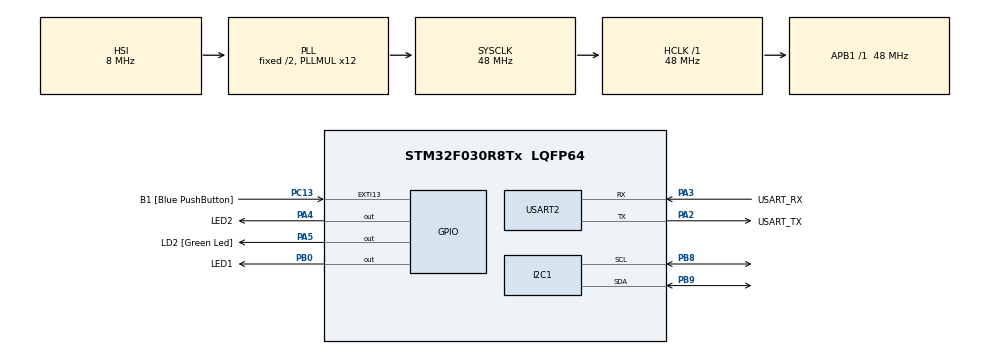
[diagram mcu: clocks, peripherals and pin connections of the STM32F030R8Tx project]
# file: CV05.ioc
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Dma.Request0=USART2_RX
Dma.USART2_RX.0.Direction=DMA_PERIPH_TO_MEMORY
Dma.USART2_RX.0.Instance=DMA1_Channel5
Dma.USART2_RX.0.MemDataAlignment=DMA_MDATAALIGN_BYTE
Dma.USART2_RX.0.MemInc=DMA_MINC_ENABLE
Dma.USART2_RX.0.Mode=DMA_CIRCULAR
Dma.USART2_RX.0.PeriphDataAlignment=DMA_PDATAALIGN_BYTE
Dma.USART2_RX.0.PeriphInc=DMA_PINC_DISABLE
Dma.USART2_RX.0.Priority=DMA_PRIORITY_LOW
Mcu.Family=STM32F0
Mcu.Name=STM32F030R8Tx
Mcu.Package=LQFP64
NVIC.DMA1_Channel4_5_IRQn=true\:0\:0\:false\:false\:true\:false\:true
PA13.GPIO_Label=TMS
PA13.Mode=Serial_Wire
PA13.Signal=SYS_SWDIO
PA14.GPIO_Label=TCK
PA14.Mode=Serial_Wire
PA14.Signal=SYS_SWCLK
PA2.GPIO_Label=USART_TX
PA2.GPIO_Mode=GPIO_MODE_AF_PP
PA2.GPIO_PuPd=GPIO_NOPULL
PA2.GPIO_Speed=GPIO_SPEED_FREQ_LOW
PA2.Mode=Asynchronous
PA2.Signal=USART2_TX
PA3.GPIO_Label=USART_RX
PA3.GPIO_Mode=GPIO_MODE_AF_PP
PA3.GPIO_PuPd=GPIO_NOPULL
PA3.GPIO_Speed=GPIO_SPEED_FREQ_LOW
PA3.Mode=Asynchronous
PA3.Signal=USART2_RX
PA4.GPIO_Label=LED2
PA4.Signal=GPIO_Output
PA5.GPIO_Label=LD2 [Green Led]
PA5.GPIO_Mode=GPIO_MODE_OUTPUT_PP
PA5.GPIO_PuPd=GPIO_NOPULL
PA5.GPIO_Speed=GPIO_SPEED_FREQ_LOW
PA5.Signal=GPIO_Output
PB0.GPIO_Label=LED1
PB0.Signal=GPIO_Output
PB8.Mode=I2C
PB8.Signal=I2C1_SCL
PB9.Mode=I2C
PB9.Signal=I2C1_SDA
PC13.GPIO_Label=B1 [Blue PushButton]
PC13.GPIO_ModeDefaultEXTI=GPIO_MODE_IT_FALLING
PC13.Signal=GPXTI13
PC14-OSC32_IN.Mode=LSE-External-Oscillator
PC14-OSC32_IN.Signal=RCC_OSC32_IN
PC15-OSC32_OUT.Mode=LSE-External-Oscillator
PC15-OSC32_OUT.Signal=RCC_OSC32_OUT
PF0-OSC_IN.Mode=HSE-External-Clock-Source
PF0-OSC_IN.Signal=RCC_OSC_IN
PF1-OSC_OUT.Signal=RCC_OSC_OUT
ProjectManager.HeapSize=0x200
ProjectManager.StackSize=0x400
ProjectManager.TargetToolchain=STM32CubeIDE
RCC.AHBFreq_Value=48000000
RCC.APB1Freq_Value=48000000
RCC.APB1TimFreq_Value=48000000
RCC.HCLKFreq_Value=48000000
RCC.PLLMUL=RCC_PLL_MUL12
RCC.SYSCLKFreq_VALUE=48000000
RCC.SYSCLKSource=RCC_SYSCLKSOURCE_PLLCLK
USART2.VirtualMode-Asynchronous=VM_ASYNC
board=NUCLEO-F030R8

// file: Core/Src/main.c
/* USER CODE BEGIN Header */
/**
  ******************************************************************************
  * @file           : main.c
  * @brief          : Main program body
  ******************************************************************************
  * @attention
  *
  * <h2><center>&copy; Copyright (c) 2020 STMicroelectronics.
  * All rights reserved.</center></h2>
  *
  * This software component is licensed by ST under BSD 3-Clause license,
  * the "License"; You may not use this file except in compliance with the
  * License. You may obtain a copy of the License at:
  *                        opensource.org/licenses/BSD-3-Clause
  *
  ******************************************************************************
  */
/* USER CODE END Header */

#include "main.h"

/* USER CODE BEGIN PD */

#define RX_BUFFER_LEN 64
static uint8_t uart_rx_buf[RX_BUFFER_LEN];
static volatile uint16_t uart_rx_read_ptr = 0;
#define uart_rx_write_ptr (RX_BUFFER_LEN - hdma_usart2_rx.Instance->CNDTR)
#define CMD_BUFFER_LEN 256
#define STOP 2000

/* USER CODE END PD */

I2C_HandleTypeDef hi2c1;

UART_HandleTypeDef huart2;
DMA_HandleTypeDef hdma_usart2_rx;

/* USER CODE BEGIN PV */
static volatile uint32_t tick;
/* USER CODE END PV */

void SystemClock_Config(void);
static void MX_GPIO_Init(void);
static void MX_DMA_Init(void);
static void MX_USART2_UART_Init(void);
static void MX_I2C1_Init(void);
/* USER CODE BEGIN PFP */

static void uart_byte_available(uint8_t c);
static void  uart_process_command(char *data);
int _write(int file, char const *buf, int n);

/* USER CODE END PFP */

int main(void)
{

  /* MCU Configuration--------------------------------------------------------*/

  /* Reset of all peripherals, Initializes the Flash interface and the Systick. */
  HAL_Init();

  /* Configure the system clock */
  SystemClock_Config();

  /* Initialize all configured peripherals */
  MX_GPIO_Init();
  MX_DMA_Init();
  MX_USART2_UART_Init();
  MX_I2C1_Init();
  /* USER CODE BEGIN 2 */
  HAL_UART_Receive_DMA(&huart2, uart_rx_buf, RX_BUFFER_LEN);

  /* USER CODE END 2 */

  /* Infinite loop */
  while (1)
  {

    /* USER CODE BEGIN 3 */

	  while (uart_rx_read_ptr != uart_rx_write_ptr) {
	      uint8_t b = uart_rx_buf[uart_rx_read_ptr];
	      if (++uart_rx_read_ptr >= RX_BUFFER_LEN){
	    	  uart_rx_read_ptr = 0; // increase read pointer

	    	  // tick = HAL_GetTick();
	      }

	      uart_byte_available(b); // process every received byte with the RX state machine
	  }

	  /*
	  ----prvni cast zkouska---
	  uint8_t c;
	  HAL_UART_Receive(&huart2, &c, 1, HAL_MAX_DELAY);
	  HAL_UART_Transmit(&huart2, &c, 1, HAL_MAX_DELAY);
	  */

  }
  /* USER CODE END 3 */
}

void SystemClock_Config(void)
{
  RCC_OscInitTypeDef RCC_OscInitStruct = {0};
  RCC_ClkInitTypeDef RCC_ClkInitStruct = {0};
  RCC_PeriphCLKInitTypeDef PeriphClkInit = {0};

  /** Initializes the CPU, AHB and APB busses clocks
  */
  RCC_OscInitStruct.OscillatorType = RCC_OSCILLATORTYPE_HSI;
  RCC_OscInitStruct.HSIState = RCC_HSI_ON;
  RCC_OscInitStruct.HSICalibrationValue = RCC_HSICALIBRATION_DEFAULT;
  RCC_OscInitStruct.PLL.PLLState = RCC_PLL_ON;
  RCC_OscInitStruct.PLL.PLLSource = RCC_PLLSOURCE_HSI;
  RCC_OscInitStruct.PLL.PLLMUL = RCC_PLL_MUL12;
  RCC_OscInitStruct.PLL.PREDIV = RCC_PREDIV_DIV1;
  if (HAL_RCC_OscConfig(&RCC_OscInitStruct) != HAL_OK)
  {
    Error_Handler();
  }
  /** Initializes the CPU, AHB and APB busses clocks
  */
  RCC_ClkInitStruct.ClockType = RCC_CLOCKTYPE_HCLK|RCC_CLOCKTYPE_SYSCLK
                              |RCC_CLOCKTYPE_PCLK1;
  RCC_ClkInitStruct.SYSCLKSource = RCC_SYSCLKSOURCE_PLLCLK;
  RCC_ClkInitStruct.AHBCLKDivider = RCC_SYSCLK_DIV1;
  RCC_ClkInitStruct.APB1CLKDivider = RCC_HCLK_DIV1;

  if (HAL_RCC_ClockConfig(&RCC_ClkInitStruct, FLASH_LATENCY_1) != HAL_OK)
  {
    Error_Handler();
  }
  PeriphClkInit.PeriphClockSelection = RCC_PERIPHCLK_I2C1;
  PeriphClkInit.I2c1ClockSelection = RCC_I2C1CLKSOURCE_HSI;
  if (HAL_RCCEx_PeriphCLKConfig(&PeriphClkInit) != HAL_OK)
  {
    Error_Handler();
  }
}

static void MX_I2C1_Init(void)
{

  hi2c1.Instance = I2C1;
  hi2c1.Init.Timing = 0x2000090E;
  hi2c1.Init.OwnAddress1 = 0;
  hi2c1.Init.AddressingMode = I2C_ADDRESSINGMODE_7BIT;
  hi2c1.Init.DualAddressMode = I2C_DUALADDRESS_DISABLE;
  hi2c1.Init.OwnAddress2 = 0;
  hi2c1.Init.OwnAddress2Masks = I2C_OA2_NOMASK;
  hi2c1.Init.GeneralCallMode = I2C_GENERALCALL_DISABLE;
  hi2c1.Init.NoStretchMode = I2C_NOSTRETCH_DISABLE;
  if (HAL_I2C_Init(&hi2c1) != HAL_OK)
  {
    Error_Handler();
  }
  /** Configure Analogue filter
  */
  if (HAL_I2CEx_ConfigAnalogFilter(&hi2c1, I2C_ANALOGFILTER_ENABLE) != HAL_OK)
  {
    Error_Handler();
  }
  /** Configure Digital filter
  */
  if (HAL_I2CEx_ConfigDigitalFilter(&hi2c1, 0) != HAL_OK)
  {
    Error_Handler();
  }

}

static void MX_USART2_UART_Init(void)
{

  huart2.Instance = USART2;
  huart2.Init.BaudRate = 38400;
  huart2.Init.WordLength = UART_WORDLENGTH_8B;
  huart2.Init.StopBits = UART_STOPBITS_1;
  huart2.Init.Parity = UART_PARITY_NONE;
  huart2.Init.Mode = UART_MODE_TX_RX;
  huart2.Init.HwFlowCtl = UART_HWCONTROL_NONE;
  huart2.Init.OverSampling = UART_OVERSAMPLING_16;
  huart2.Init.OneBitSampling = UART_ONE_BIT_SAMPLE_DISABLE;
  huart2.AdvancedInit.AdvFeatureInit = UART_ADVFEATURE_NO_INIT;
  if (HAL_UART_Init(&huart2) != HAL_OK)
  {
    Error_Handler();
  }

}

static void MX_DMA_Init(void)
{

  /* DMA controller clock enable */
  __HAL_RCC_DMA1_CLK_ENABLE();

  /* DMA interrupt init */
  /* DMA1_Channel4_5_IRQn interrupt configuration */
  HAL_NVIC_SetPriority(DMA1_Channel4_5_IRQn, 0, 0);
  HAL_NVIC_EnableIRQ(DMA1_Channel4_5_IRQn);

}

static void MX_GPIO_Init(void)
{
  GPIO_InitTypeDef GPIO_InitStruct = {0};

  /* GPIO Ports Clock Enable */
  __HAL_RCC_GPIOC_CLK_ENABLE();
  __HAL_RCC_GPIOF_CLK_ENABLE();
  __HAL_RCC_GPIOA_CLK_ENABLE();
  __HAL_RCC_GPIOB_CLK_ENABLE();

  /*Configure GPIO pin Output Level */
  HAL_GPIO_WritePin(GPIOA, LED2_Pin|LD2_Pin, GPIO_PIN_RESET);

  /*Configure GPIO pin Output Level */
  HAL_GPIO_WritePin(LED1_GPIO_Port, LED1_Pin, GPIO_PIN_RESET);

  /*Configure GPIO pin : B1_Pin */
  GPIO_InitStruct.Pin = B1_Pin;
  GPIO_InitStruct.Mode = GPIO_MODE_IT_FALLING;
  GPIO_InitStruct.Pull = GPIO_NOPULL;
  HAL_GPIO_Init(B1_GPIO_Port, &GPIO_InitStruct);

  /*Configure GPIO pins : LED2_Pin LD2_Pin */
  GPIO_InitStruct.Pin = LED2_Pin|LD2_Pin;
  GPIO_InitStruct.Mode = GPIO_MODE_OUTPUT_PP;
  GPIO_InitStruct.Pull = GPIO_NOPULL;
  GPIO_InitStruct.Speed = GPIO_SPEED_FREQ_LOW;
  HAL_GPIO_Init(GPIOA, &GPIO_InitStruct);

  /*Configure GPIO pin : LED1_Pin */
  GPIO_InitStruct.Pin = LED1_Pin;
  GPIO_InitStruct.Mode = GPIO_MODE_OUTPUT_PP;
  GPIO_InitStruct.Pull = GPIO_NOPULL;
  GPIO_InitStruct.Speed = GPIO_SPEED_FREQ_LOW;
  HAL_GPIO_Init(LED1_GPIO_Port, &GPIO_InitStruct);

}

/* USER CODE BEGIN 4 */
static void uart_byte_available(uint8_t c)
{
    static uint16_t cnt;
    static char data[CMD_BUFFER_LEN];
   // uint32_t tick;

    //if(HAL_GetTick() > tick+STOP) c= 0;

    //if (cnt < CMD_BUFFER_LEN) data[cnt++] = c;
    if ((cnt < CMD_BUFFER_LEN) && (c >= 32) && (c <= 128)) data[cnt++] = c;
    if (c == '\n' || c == '\r') {
        data[cnt] = '\0';
        //data[cnt - 1] = '\0';
        uart_process_command(data);
        cnt = 0;
    }
}

static void  uart_process_command(char *data)
{

	char *token;
	token = strtok(data, " ");

	printf("prijato: '%s'\n", data);

	if (strcasecmp(token, "HELLO") == 0) {
	    printf("Komunikace OK\n");
	}
	else if(strcasecmp(token, "LED2") == 0){
		token = strtok(NULL," ");
		if(strcasecmp(token, "ON") == 0) HAL_GPIO_WritePin(LED1_GPIO_Port,LED1_Pin,1);
		else if(strcasecmp(token, "OFF") == 0) HAL_GPIO_WritePin(LED1_GPIO_Port,LED1_Pin,0);
		printf("OK\n");
	}
	else if(strcasecmp(token, "LED1") == 0){
	    token = strtok(NULL," ");
		if(strcasecmp(token, "ON") == 0) HAL_GPIO_WritePin(LED2_GPIO_Port,LED2_Pin,1);
		else if(strcasecmp(token, "OFF") == 0) HAL_GPIO_WritePin(LED2_GPIO_Port,LED2_Pin,0);
		printf("OK\n");
	}

	else if(strcasecmp(token, "STATUS") == 0){
		if(HAL_GPIO_ReadPin(LED1_GPIO_Port, LED1_Pin)==1) printf("Status LED2 ON\n");
		if(HAL_GPIO_ReadPin(LED1_GPIO_Port, LED1_Pin)==0) printf("Status LED2 OFF\n");
		if(HAL_GPIO_ReadPin(LED2_GPIO_Port, LED2_Pin)==1) printf("Status LED1 ON\n");
		if(HAL_GPIO_ReadPin(LED2_GPIO_Port, LED2_Pin)==0) printf("Status LED1 OFF\n");
	}

    /*
	///I2C
	else if(strcasecmp(token, "READ") == 0){
		    token = strtok(NULL," ");

		    HAL_I2C_Mem_Read(&hi2c1, EEPROM_ADDR,)
			printf("OK\n");
	}
	*/

}

int _write(int file, char const *buf, int n)
{
    /* stdout redirection to UART2 */
    HAL_UART_Transmit(&huart2, (uint8_t*)(buf), n, HAL_MAX_DELAY);
    return n;
}

/* USER CODE END 4 */

void Error_Handler(void)
{
}

/************************ (C) COPYRIGHT STMicroelectronics *****END OF FILE****/
